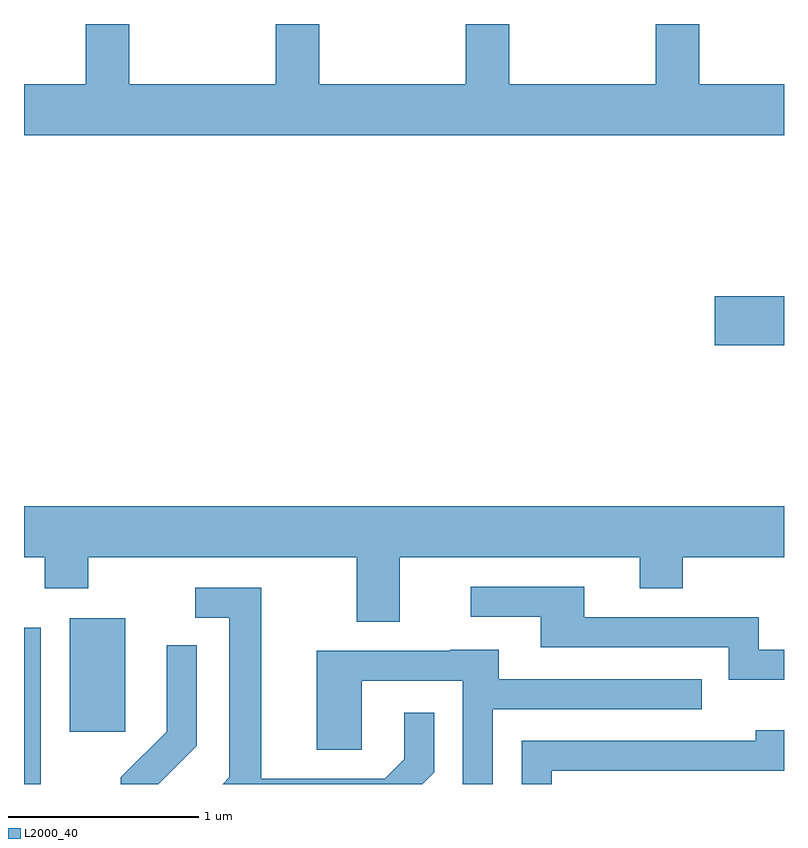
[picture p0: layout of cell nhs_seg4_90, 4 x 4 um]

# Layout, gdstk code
import gdstk
lib = gdstk.Library(unit=1e-6, precision=1e-09)
def R(c, l, rs):  # rectangles x0, y0, x1, y1
    for r in rs: c.add(gdstk.rectangle(r[:2], r[2:], *l))
def P(c, l, *ps):  # polygons
    for p in ps: c.add(gdstk.Polygon(p, *l))
L2000_40 = (2000, 40)

nhs_seg4_90 = lib.new_cell('nhs_seg4_90')
R(nhs_seg4_90, L2000_40, [(187.611,1297.982,187.699,1298.804), (187.851,1298.256,188.144,1298.854), (191.246,1300.291,191.611,1300.549)])
P(nhs_seg4_90, L2000_40, [(191.611,1301.664),(191.164,1301.664),(191.164,1301.982),(190.936,1301.982),(190.936,1301.664),(190.164,1301.664),(190.164,1301.982),(189.936,1301.982),(189.936,1301.664),(189.164,1301.664),(189.164,1301.982),(188.936,1301.982),(188.936,1301.664),(188.164,1301.664),(188.164,1301.982),(187.936,1301.982),(187.936,1301.664),(187.611,1301.664),(187.611,1301.396),(191.611,1301.396)],
  [(189.589,1299.176),(190.851,1299.176),(190.851,1299.011),(191.079,1299.011),(191.079,1299.176),(191.611,1299.176),(191.611,1299.444),(187.611,1299.444),(187.611,1299.176),(187.721,1299.176),(187.721,1299.011),(187.949,1299.011),(187.949,1299.176),(189.361,1299.176),(189.361,1298.836),(189.589,1298.836)],
  [(191.611,1298.689),(191.479,1298.689),(191.479,1298.859),(190.559,1298.859),(190.559,1299.019),(189.963,1299.019),(189.963,1298.861),(190.331,1298.861),(190.331,1298.701),(191.321,1298.701),(191.321,1298.531),(191.611,1298.531)],
  [(189.769,1298.044),(189.769,1298.358),(189.611,1298.358),(189.611,1298.112),(189.509,1298.009),(188.859,1298.009),(188.859,1299.014),(188.513,1299.014),(188.513,1298.856),(188.691,1298.856),(188.691,1298.017),(188.656,1297.982),(189.707,1297.982)],
  [(188.519,1298.184),(188.519,1298.713),(188.361,1298.713),(188.361,1298.257),(188.121,1298.017),(188.121,1297.982),(188.317,1297.982)],
  [(190.079,1298.376),(191.178,1298.376),(191.178,1298.534),(190.109,1298.534),(190.109,1298.689),(189.855,1298.689),(189.855,1298.684),(189.151,1298.684),(189.151,1298.161),(189.389,1298.161),(189.389,1298.526),(189.921,1298.526),(189.921,1297.982),(190.079,1297.982)],
  [(190.389,1298.051),(191.611,1298.051),(191.611,1298.264),(191.461,1298.264),(191.461,1298.209),(190.231,1298.209),(190.231,1297.982),(190.389,1297.982)])

lib.write_gds('nhs_seg4_90.gds')
